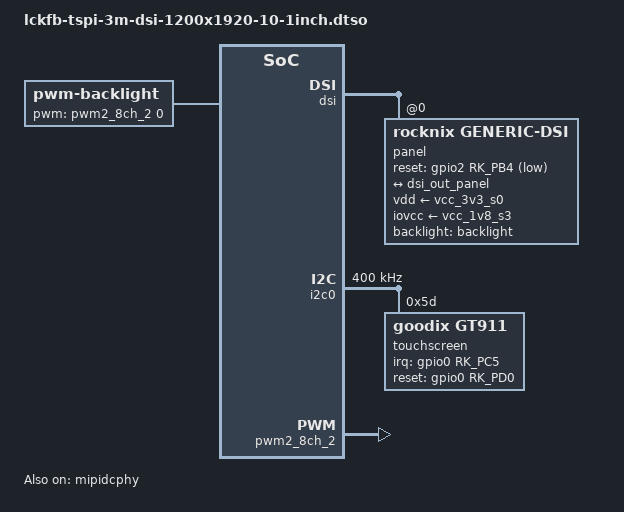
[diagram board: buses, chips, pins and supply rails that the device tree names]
// SPDX-License-Identifier: (GPL-2.0+ OR MIT)
/*
 * LCKFB TaishanPi 3M: 10.1 inch 1200x1920 MIPI DSI screen with Goodix touch
 *
 * Panel timings and init sequence are from LCKFB's vendor kernel device
 * tree, in the form the rocknix,generic-dsi driver takes.
 *
 * Not tested on hardware: converted from the vendor data, structure as in
 * the tested C41409463 overlay.
 */

/dts-v1/;
/plugin/;

#include <dt-bindings/gpio/gpio.h>
#include <dt-bindings/interrupt-controller/irq.h>
#include <dt-bindings/pinctrl/rockchip.h>
#include <dt-bindings/soc/rockchip,vop2.h>

&{/} {
	backlight: backlight {
		compatible = "pwm-backlight";
		pwms = <&pwm2_8ch_2 0 25000 0>;
		brightness-levels = <20 255>;
		num-interpolated-steps = <235>;
		default-brightness-level = <180>;
	};
};

&dsi {
	#address-cells = <1>;
	#size-cells = <0>;
	status = "okay";

	panel@0 {
		compatible = "rocknix,generic-dsi";
		reg = <0>;
		backlight = <&backlight>;
		reset-gpios = <&gpio2 RK_PB4 GPIO_ACTIVE_LOW>;
		pinctrl-names = "default";
		pinctrl-0 = <&lcd_rst>;
		vdd-supply = <&vcc_3v3_s0>;
		iovcc-supply = <&vcc_1v8_s3>;

		panel_description =
			"G size=135,216 delays=20,100,10,120,20 format=rgb888 lanes=4 flags=0xa03",
			"M clock=120000 horizontal=1200,42,42,32 vertical=1920,35,4,30 default=1",
			"I seq=b001",
			"I seq=c34f",
			"I seq=c440",
			"I seq=c540",
			"I seq=c640",
			"I seq=c740",
			"I seq=c84d",
			"I seq=c952",
			"I seq=ca51",
			"I seq=cd5d",
			"I seq=ce5b",
			"I seq=cf4b",
			"I seq=d049",
			"I seq=d147",
			"I seq=d245",
			"I seq=d341",
			"I seq=d750",
			"I seq=d840",
			"I seq=d940",
			"I seq=da40",
			"I seq=db40",
			"I seq=dc4e",
			"I seq=dd52",
			"I seq=de51",
			"I seq=e15e",
			"I seq=e25c",
			"I seq=e34c",
			"I seq=e44a",
			"I seq=e548",
			"I seq=e646",
			"I seq=e742",
			"I seq=b003",
			"I seq=be03",
			"I seq=cc44",
			"I seq=c807",
			"I seq=c905",
			"I seq=ca42",
			"I seq=cd3e",
			"I seq=cf60",
			"I seq=d204",
			"I seq=d304",
			"I seq=d401",
			"I seq=d500",
			"I seq=d603",
			"I seq=d704",
			"I seq=d901",
			"I seq=db01",
			"I seq=e4f0",
			"I seq=e50a",
			"I seq=b000",
			"I seq=b108",
			"I seq=bd54",
			"I seq=c206",
			"I seq=c40b",
			"I seq=b002",
			"I seq=c000",
			"I seq=c10a",
			"I seq=c220",
			"I seq=c324",
			"I seq=c423",
			"I seq=c529",
			"I seq=c623",
			"I seq=c71c",
			"I seq=c819",
			"I seq=c917",
			"I seq=ca17",
			"I seq=cb18",
			"I seq=cc1a",
			"I seq=cd1e",
			"I seq=ce20",
			"I seq=cf23",
			"I seq=d007",
			"I seq=d100",
			"I seq=d200",
			"I seq=d30a",
			"I seq=d413",
			"I seq=d51c",
			"I seq=d61a",
			"I seq=d713",
			"I seq=d817",
			"I seq=d91c",
			"I seq=da19",
			"I seq=db17",
			"I seq=dc17",
			"I seq=dd18",
			"I seq=de1a",
			"I seq=df1e",
			"I seq=e020",
			"I seq=e123",
			"I seq=e207",
			"I seq=11 wait=78",
			"I seq=29 wait=14";

		port {
			panel_in_dsi: endpoint {
				remote-endpoint = <&dsi_out_panel>;
			};
		};
	};
};

&dsi_in {
	dsi_in_vp2: endpoint {
		remote-endpoint = <&vp2_out_dsi>;
	};
};

&dsi_out {
	dsi_out_panel: endpoint {
		remote-endpoint = <&panel_in_dsi>;
	};
};

&i2c0 {
	pinctrl-names = "default";
	pinctrl-0 = <&i2c0m1_xfer>;
	clock-frequency = <400000>;
	status = "okay";

	touchscreen@5d {
		compatible = "goodix,gt911";
		reg = <0x5d>;
		interrupt-parent = <&gpio0>;
		interrupts = <RK_PC5 IRQ_TYPE_LEVEL_LOW>;
		irq-gpios = <&gpio0 RK_PC5 GPIO_ACTIVE_HIGH>;
		/*
		 * The line resets the chip when low, but the goodix driver
		 * writes 0 to reset and 1 to release, so this is ACTIVE_HIGH
		 * like on every other board using it.
		 */
		reset-gpios = <&gpio0 RK_PD0 GPIO_ACTIVE_HIGH>;
		pinctrl-names = "default";
		pinctrl-0 = <&touch_int &touch_rst>;
	};
};

&mipidcphy {
	status = "okay";
};

&pinctrl {
	lcd {
		lcd_rst: lcd-rst {
			rockchip,pins = <2 RK_PB4 RK_FUNC_GPIO &pcfg_pull_none>;
		};
	};

	touch {
		touch_int: touch-int {
			rockchip,pins = <0 RK_PC5 RK_FUNC_GPIO &pcfg_pull_up>;
		};

		touch_rst: touch-rst {
			rockchip,pins = <0 RK_PD0 RK_FUNC_GPIO &pcfg_pull_none>;
		};
	};
};

&pwm2_8ch_2 {
	pinctrl-names = "default";
	pinctrl-0 = <&pwm2m3_ch2>;
	status = "okay";
};

&vp2 {
	#address-cells = <1>;
	#size-cells = <0>;

	vp2_out_dsi: endpoint@ROCKCHIP_VOP2_EP_MIPI0 {
		reg = <ROCKCHIP_VOP2_EP_MIPI0>;
		remote-endpoint = <&dsi_in_vp2>;
	};
};
